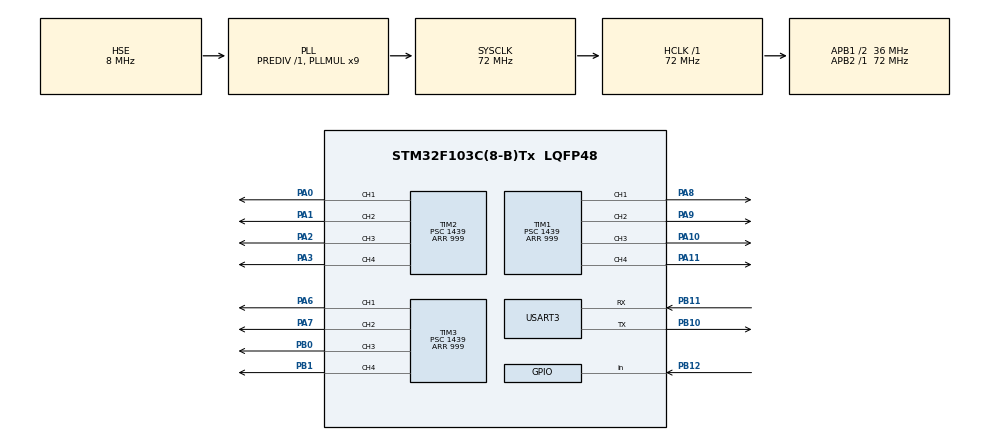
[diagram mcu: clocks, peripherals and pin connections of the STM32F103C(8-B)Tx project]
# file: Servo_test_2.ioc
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Dma.Request0=USART3_RX
Dma.Request1=USART3_TX
Dma.USART3_RX.0.Direction=DMA_PERIPH_TO_MEMORY
Dma.USART3_RX.0.Instance=DMA1_Channel3
Dma.USART3_RX.0.MemDataAlignment=DMA_MDATAALIGN_BYTE
Dma.USART3_RX.0.MemInc=DMA_MINC_ENABLE
Dma.USART3_RX.0.Mode=DMA_NORMAL
Dma.USART3_RX.0.PeriphDataAlignment=DMA_PDATAALIGN_BYTE
Dma.USART3_RX.0.PeriphInc=DMA_PINC_DISABLE
Dma.USART3_RX.0.Priority=DMA_PRIORITY_LOW
Dma.USART3_TX.1.Direction=DMA_MEMORY_TO_PERIPH
Dma.USART3_TX.1.Instance=DMA1_Channel2
Dma.USART3_TX.1.MemDataAlignment=DMA_MDATAALIGN_BYTE
Dma.USART3_TX.1.MemInc=DMA_MINC_ENABLE
Dma.USART3_TX.1.Mode=DMA_NORMAL
Dma.USART3_TX.1.PeriphDataAlignment=DMA_PDATAALIGN_BYTE
Dma.USART3_TX.1.PeriphInc=DMA_PINC_DISABLE
Dma.USART3_TX.1.Priority=DMA_PRIORITY_LOW
Mcu.Family=STM32F1
Mcu.Name=STM32F103C(8-B)Tx
Mcu.Package=LQFP48
NVIC.DMA1_Channel2_IRQn=true\:0\:0\:false\:false\:true\:false\:true\:true
NVIC.DMA1_Channel3_IRQn=true\:0\:0\:false\:false\:true\:false\:true\:true
NVIC.PriorityGroup=NVIC_PRIORITYGROUP_4
NVIC.USART3_IRQn=true\:0\:0\:false\:false\:true\:true\:true\:true
PA0-WKUP.Signal=S_TIM2_CH1_ETR
PA1.Signal=S_TIM2_CH2
PA10.Signal=S_TIM1_CH3
PA11.Signal=S_TIM1_CH4
PA13.Mode=Serial_Wire
PA13.Signal=SYS_JTMS-SWDIO
PA14.Mode=Serial_Wire
PA14.Signal=SYS_JTCK-SWCLK
PA2.Signal=S_TIM2_CH3
PA3.Signal=S_TIM2_CH4
PA6.Signal=S_TIM3_CH1
PA7.Signal=S_TIM3_CH2
PA8.Signal=S_TIM1_CH1
PA9.Signal=S_TIM1_CH2
PB0.Signal=S_TIM3_CH3
PB1.Signal=S_TIM3_CH4
PB10.Mode=Asynchronous
PB10.Signal=USART3_TX
PB11.Mode=Asynchronous
PB11.Signal=USART3_RX
PB12.GPIO_PuPd=GPIO_PULLDOWN
PB12.Signal=GPIO_Input
PD0-OSC_IN.Mode=HSE-External-Oscillator
PD0-OSC_IN.Signal=RCC_OSC_IN
PD1-OSC_OUT.Mode=HSE-External-Oscillator
PD1-OSC_OUT.Signal=RCC_OSC_OUT
ProjectManager.HeapSize=0x200
ProjectManager.StackSize=0x400
ProjectManager.TargetToolchain=MDK-ARM V5.32
RCC.AHBFreq_Value=72000000
RCC.APB1CLKDivider=RCC_HCLK_DIV2
RCC.APB1Freq_Value=36000000
RCC.APB1TimFreq_Value=72000000
RCC.APB2Freq_Value=72000000
RCC.APB2TimFreq_Value=72000000
RCC.HCLKFreq_Value=72000000
RCC.PLLMUL=RCC_PLL_MUL9
RCC.PLLSourceVirtual=RCC_PLLSOURCE_HSE
RCC.SYSCLKFreq_VALUE=72000000
RCC.SYSCLKSource=RCC_SYSCLKSOURCE_PLLCLK
RCC.USBFreq_Value=72000000
SH.S_TIM1_CH1.0=TIM1_CH1,PWM Generation1 CH1
SH.S_TIM1_CH2.0=TIM1_CH2,PWM Generation2 CH2
SH.S_TIM1_CH3.0=TIM1_CH3,PWM Generation3 CH3
SH.S_TIM1_CH4.0=TIM1_CH4,PWM Generation4 CH4
SH.S_TIM2_CH1_ETR.0=TIM2_CH1,PWM Generation1 CH1
SH.S_TIM2_CH2.0=TIM2_CH2,PWM Generation2 CH2
SH.S_TIM2_CH3.0=TIM2_CH3,PWM Generation3 CH3
SH.S_TIM2_CH4.0=TIM2_CH4,PWM Generation4 CH4
SH.S_TIM3_CH1.0=TIM3_CH1,PWM Generation1 CH1
SH.S_TIM3_CH2.0=TIM3_CH2,PWM Generation2 CH2
SH.S_TIM3_CH3.0=TIM3_CH3,PWM Generation3 CH3
SH.S_TIM3_CH4.0=TIM3_CH4,PWM Generation4 CH4
TIM1.Channel-PWM\ Generation1\ CH1=TIM_CHANNEL_1
TIM1.Channel-PWM\ Generation2\ CH2=TIM_CHANNEL_2
TIM1.Channel-PWM\ Generation3\ CH3=TIM_CHANNEL_3
TIM1.Channel-PWM\ Generation4\ CH4=TIM_CHANNEL_4
TIM1.Period=999
TIM1.Prescaler=1439
TIM2.Channel-PWM\ Generation1\ CH1=TIM_CHANNEL_1
TIM2.Channel-PWM\ Generation2\ CH2=TIM_CHANNEL_2
TIM2.Channel-PWM\ Generation3\ CH3=TIM_CHANNEL_3
TIM2.Channel-PWM\ Generation4\ CH4=TIM_CHANNEL_4
TIM2.Period=999
TIM2.Prescaler=1439
TIM3.Channel-PWM\ Generation1\ CH1=TIM_CHANNEL_1
TIM3.Channel-PWM\ Generation2\ CH2=TIM_CHANNEL_2
TIM3.Channel-PWM\ Generation3\ CH3=TIM_CHANNEL_3
TIM3.Channel-PWM\ Generation4\ CH4=TIM_CHANNEL_4
TIM3.Period=999
TIM3.Prescaler=1439
USART3.VirtualMode=VM_ASYNC
board=custom

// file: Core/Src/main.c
/* USER CODE BEGIN Header */
/**
  ******************************************************************************
  * @file           : main.c
  * @brief          : Main program body
  ******************************************************************************
  * @attention
  *
  * Copyright (c) 2025 STMicroelectronics.
  * All rights reserved.
  *
  * This software is licensed under terms that can be found in the LICENSE file
  * in the root directory of this software component.
  * If no LICENSE file comes with this software, it is provided AS-IS.
  *
  ******************************************************************************
  */
/* USER CODE END Header */
#include "main.h"

/* USER CODE BEGIN Includes */

#include "Straight_gait.h"
#include "Spin_gait.h"

/* USER CODE END Includes */

TIM_HandleTypeDef htim1;
TIM_HandleTypeDef htim2;
TIM_HandleTypeDef htim3;

UART_HandleTypeDef huart3;
DMA_HandleTypeDef hdma_usart3_rx;
DMA_HandleTypeDef hdma_usart3_tx;

void SystemClock_Config(void);
static void MX_GPIO_Init(void);
static void MX_DMA_Init(void);
static void MX_TIM2_Init(void);
static void MX_TIM3_Init(void);
static void MX_TIM1_Init(void);
static void MX_USART3_UART_Init(void);

/* USER CODE BEGIN 0 */

uint8_t ready = 0;

uint8_t begin_stra_gait = 0;
uint8_t leg2_12and3_34_stra_gait = 0;
uint8_t leg3_12and2_34_stra_gait = 0;

uint8_t begin_spin_gait = 0;
uint8_t leg2_12and3_34_spin_gait = 0;
uint8_t leg3_12and2_34_spin_gait = 0;

uint8_t id;

uint8_t rxData[4];

uint8_t forward = 0;
uint8_t back = 0;
uint8_t right = 0;
uint8_t left = 0;

// straight gait 1

int RBpalForeAlphaTIM[] = {44, 45, 46, 47, 49, 50, 52, 54, 55, 57, 59}; //1
int RBpalForeBetaTIM[] = {63, 62, 61, 61, 61, 61, 62, 63, 64, 65, 67}; //1

int RBpalBackAlphaTIM[] = {33, 33, 33, 34, 35, 36, 37, 39, 40, 42, 44};
int RBpalBackBetaTIM[] = {67, 65, 64, 63, 62, 61, 61, 61, 61, 62, 63};

int RBpalAlphaGaitTIM[] = {33, 33, 34, 36, 38, 41, 44, 48, 52, 55, 59}; //3
int RBpalBetaGaitTIM[] = {67, 64, 61, 59, 58, 57, 58, 59, 61, 64, 67}; //3

int RBstraForeAlphaTIM[] = {59, 57, 56, 54, 53, 51, 50, 48, 47, 45, 44}; //4
int RBstraForeBetaTIM[] = {67, 66, 66, 65, 65, 64, 64, 64, 63, 63, 63}; //4

int RBstraBackAlphaTIM[] = {44, 43, 41, 40, 39, 38, 37, 36, 35, 34, 33};
int RBstraBackBetaTIM[] = {63, 63, 63, 64, 64, 64, 65, 65, 66, 66, 67};

int RBstraAlphaGaitTIM[] = {59, 56, 53, 50, 47, 44, 41, 39, 37, 35, 33}; //2
int RBstraBetaGaitTIM[] = {67, 66, 65, 64, 63, 63, 63, 64, 65, 66, 67}; //2

int LBpalAlphaGaitTIM[] = {117, 117, 116, 114, 112, 109, 106, 102, 98, 95, 91}; //3
int LBpalBetaGaitTIM[] = {83, 86, 89, 91, 92, 93, 92, 91, 89, 86, 83}; //3

int LBpalBackAlphaTIM[] = {117, 117, 117, 116, 115, 114, 113, 111, 110, 108, 106};
int LBpalBackBetaTIM[] = {83, 85, 86, 87, 88, 89, 89, 89, 89, 88, 87};

int LBpalForeAlphaTIM[] = {106, 105, 104, 103, 101, 100, 98, 96, 95, 93, 91}; //1
int LBpalForeBetaTIM[] = {87, 88, 89, 89, 89, 89, 88, 87, 86, 85, 83}; //1

int LBstraAlphaGaitTIM[] = {91, 94, 97, 100, 103, 106, 109, 111, 113, 115, 117}; //2
int LBstraBetaGaitTIM[] = {83, 84, 85, 86, 87, 87, 87, 86, 85, 84, 83}; //2

int LBstraBackAlphaTIM[] = {106, 107, 109, 110, 111, 112, 113, 114, 115, 116, 117};
int LBstraBackBetaTIM[] = {87, 87, 87, 86, 86, 86, 85, 85, 84, 84, 83};

int LBstraForeAlphaTIM[] = {91, 93, 94, 96, 97, 99, 100, 102, 103, 105, 106}; //4
int LBstraForeBetaTIM[] = {83, 84, 84, 85, 85, 86, 86, 86, 87, 87, 87}; //4

// spin gait

// for 11 and 14
// pal
int fullPalShoulderTIM1[] = {71, 72, 73, 73, 74, 75, 76, 77, 77, 78, 79};
int halfInsidePalShoulderTIM1[] = {71, 71, 71, 73, 73, 73, 73, 73, 74, 75, 75};
int halfOutsidePalShoulderTIM1[] = {75, 75, 76, 76, 77, 77, 77, 77, 78, 78, 79};
//stra
int fullStraShoulderTIM1[] = {79, 78, 77, 77, 76, 75, 74, 73, 73, 72, 71}; // reversed
int halfInsideStraShoulderTIM1[] = {75, 75, 74, 73, 73, 73, 73, 73, 72, 71, 71}; // reversed
int halfOutsideStraShoulderTIM1[] = {79, 78, 77, 77, 77, 77, 77, 76, 76, 75, 75}; // reversed

// for 12 and 13
// pal
int fullPalShoulderTIM2[] = {73, 73, 73, 74, 74, 75, 76, 76, 76, 76, 77};
int halfInsidePalShoulderTIM2[] = {75, 75, 76, 76, 76, 76, 76, 76, 77, 77, 77};
int halfOutsidePalShoulderTIM2[] = {73, 73, 73, 73, 73, 73, 74, 74, 74, 75, 75};
//stra
int fullStraShoulderTIM2[] = {77, 77, 77, 76, 76, 75, 74, 74, 74, 74, 73}; // reversed
int halfInsideStraShoulderTIM2[] = {77, 77, 76, 76, 76, 76, 76, 76, 76, 75, 75}; // reversed
int halfOutsideStraShoulderTIM2[] = {75, 75, 74, 74, 74, 74, 74, 74, 74, 73, 73}; // reversed

// right from backside
// pal
int RBfullPalAlphaGaitTIM[] = {44, 43, 43, 42, 42, 42, 42, 43, 44, 45, 46};
int RBfullPalBetaGaitTIM[] = {63, 62, 60, 60, 58, 59, 60, 61, 63, 64, 67};

int RBhalfInsidePalAlphaGaitTIM[] = {43, 42, 41, 41, 41, 40, 41, 41, 42, 43, 44};
int RBhalfInsidePalBetaGaitTIM[] = {61, 60, 58, 57, 57, 56, 57, 58, 59, 61, 63};

int RBhalfOutsidePalAlphaGaitTIM[] = {45, 44, 43, 43, 42, 43, 43, 43, 44, 45, 46};
int RBhalfOutsidePalBetaGaitTIM[] = {65, 63, 62, 61, 60, 60, 61, 61, 63, 65, 67};

// stra
int RBfullStraAlphaGaitTIM[] = {46, 46, 46, 45, 45, 45, 45, 45, 44, 44, 44}; // reversed
int RBfullStraBetaGaitTIM[] = {67, 66, 66, 66, 66, 65, 64, 64, 64, 64, 63}; // reversed

int RBhalfInsideStraAlphaGaitTIM[] = {44, 44, 44, 44, 44, 44, 43, 43, 43, 43, 43}; // reversed
int RBhalfInsideStraBetaGaitTIM[] = {63, 63, 63, 63, 63, 63, 62, 62, 62, 61, 61}; // reversed

int RBhalfOutsideStraAlphaGaitTIM[] = {46, 46, 46, 46, 46, 45, 45, 45, 45, 45, 45}; // reversed
int RBhalfOutsideStraBetaGaitTIM[] = {67, 67, 66, 66, 66, 66, 66, 66, 66, 65, 65}; // reversed

// left from backside
// pal
int LBfullPalAlphaGaitTIM[] = {106, 107, 108, 109, 110, 110, 110, 110, 109, 108, 108};
int LBfullPalBetaGaitTIM[] = {87, 89, 91, 93, 94, 95, 95, 94, 93, 92, 90};

int LBhalfInsidePalAlphaGaitTIM[] = {107, 108, 109, 110, 110, 110, 110, 110, 110, 109, 108};
int LBhalfInsidePalBetaGaitTIM[] = {89, 91, 93, 94, 95, 96, 95, 95, 94, 92, 90};

int LBhalfOutsidePalAlphaGaitTIM[] = {105, 106, 107, 108, 108, 108, 109, 108, 107, 107, 106};
int LBhalfOutsidePalBetaGaitTIM[] = {85, 87, 89, 90, 91, 92, 92, 91, 90, 89, 87};

// stra
int LBfullStraAlphaGaitTIM[] = {108, 107, 107, 107, 107, 107, 107, 107, 107, 106, 106}; // reversed
int LBfullStraBetaGaitTIM[] = {90, 90, 90, 89, 89, 89, 88, 88, 87, 87, 87}; // reversed

int LBhalfInsideStraAlphaGaitTIM[] = {108, 108, 107, 107, 107, 107, 107, 107, 107, 107, 107}; // reversed
int LBhalfInsideStraBetaGaitTIM[] = {90, 90, 90, 90, 90, 90, 89, 89, 89, 89, 89}; // reversed

int LBhalfOutsideStraAlphaGaitTIM[] = {106, 106, 106, 106, 106, 106, 106, 106, 106, 105, 105}; // reversed
int LBhalfOutsideStraBetaGaitTIM[] = {87, 87, 86, 86, 86, 86, 86, 86, 86, 85, 85}; // reversed

// reversed array
// straight gait 1
int RBpalForeAlphaTIMRe[11];
int RBpalForeBetaTIMRe[11];

int RBpalBackAlphaTIMRe[11];
int RBpalBackBetaTIMRe[11];

int RBpalAlphaGaitTIMRe[11];
int RBpalBetaGaitTIMRe[11];

int RBstraForeAlphaTIMRe[11];
int RBstraForeBetaTIMRe[11];

int RBstraBackAlphaTIMRe[11];
int RBstraBackBetaTIMRe[11];

int RBstraAlphaGaitTIMRe[11];
int RBstraBetaGaitTIMRe[11];

int LBpalAlphaGaitTIMRe[11];
int LBpalBetaGaitTIMRe[11];

int LBpalBackAlphaTIMRe[11];
int LBpalBackBetaTIMRe[11];

int LBpalForeAlphaTIMRe[11];
int LBpalForeBetaTIMRe[11];

int LBstraAlphaGaitTIMRe[11];
int LBstraBetaGaitTIMRe[11];

int LBstraBackAlphaTIMRe[11];
int LBstraBackBetaTIMRe[11];

int LBstraForeAlphaTIMRe[11];
int LBstraForeBetaTIMRe[11];

// spin gait
int fullPalShoulderTIM1Re[11];
int halfInsidePalShoulderTIM1Re[11];
int halfOutsidePalShoulderTIM1Re[11];

int fullStraShoulderTIM1Re[11];
int halfInsideStraShoulderTIM1Re[11];
int halfOutsideStraShoulderTIM1Re[11];

int fullPalShoulderTIM2Re[11];
int halfInsidePalShoulderTIM2Re[11];
int halfOutsidePalShoulderTIM2Re[11];

int fullStraShoulderTIM2Re[11];
int halfInsideStraShoulderTIM2Re[11];
int halfOutsideStraShoulderTIM2Re[11];

// right from backside
int RBfullPalAlphaGaitTIMRe[11];
int RBfullPalBetaGaitTIMRe[11];

int RBhalfInsidePalAlphaGaitTIMRe[11];
int RBhalfInsidePalBetaGaitTIMRe[11];

int RBhalfOutsidePalAlphaGaitTIMRe[11];
int RBhalfOutsidePalBetaGaitTIMRe[11];

int RBfullStraAlphaGaitTIMRe[11];
int RBfullStraBetaGaitTIMRe[11];

int RBhalfInsideStraAlphaGaitTIMRe[11];
int RBhalfInsideStraBetaGaitTIMRe[11];

int RBhalfOutsideStraAlphaGaitTIMRe[11];
int RBhalfOutsideStraBetaGaitTIMRe[11];

// left from backside
int LBfullPalAlphaGaitTIMRe[11];
int LBfullPalBetaGaitTIMRe[11];

int LBhalfInsidePalAlphaGaitTIMRe[11];
int LBhalfInsidePalBetaGaitTIMRe[11];

int LBhalfOutsidePalAlphaGaitTIMRe[11];
int LBhalfOutsidePalBetaGaitTIMRe[11];

int LBfullStraAlphaGaitTIMRe[11];
int LBfullStraBetaGaitTIMRe[11];

int LBhalfInsideStraAlphaGaitTIMRe[11];
int LBhalfInsideStraBetaGaitTIMRe[11];

int LBhalfOutsideStraAlphaGaitTIMRe[11];
int LBhalfOutsideStraBetaGaitTIMRe[11];

// function to reverse the array
void reverseArray(int* arr, int* reversedArr) {
    for (int i = 0; i < 11; i++) {
        reversedArr[i] = arr[11 - 1 - i];
    }
}

// function for straight gait 1

void reverse_straight_gait() {
	reverseArray(RBpalBackAlphaTIM, RBpalBackAlphaTIMRe);
	reverseArray(RBpalBackBetaTIM, RBpalBackBetaTIMRe);
	reverseArray(LBpalBackAlphaTIM, LBpalBackAlphaTIMRe);
	reverseArray(LBpalBackBetaTIM, LBpalBackBetaTIMRe);
	reverseArray(LBstraForeAlphaTIM, LBstraForeAlphaTIMRe);
	reverseArray(LBstraForeBetaTIM, LBstraForeBetaTIMRe);
	reverseArray(RBstraForeAlphaTIM, RBstraForeAlphaTIMRe);
	reverseArray(RBstraForeBetaTIM, RBstraForeBetaTIMRe);
	reverseArray(RBstraAlphaGaitTIM, RBstraAlphaGaitTIMRe);
	reverseArray(RBstraBetaGaitTIM, RBstraBetaGaitTIMRe);
	reverseArray(LBstraAlphaGaitTIM, LBstraAlphaGaitTIMRe);
	reverseArray(LBstraBetaGaitTIM, LBstraBetaGaitTIMRe);
	reverseArray(LBpalAlphaGaitTIM, LBpalAlphaGaitTIMRe);
	reverseArray(LBpalBetaGaitTIM, LBpalBetaGaitTIMRe);
	reverseArray(RBpalAlphaGaitTIM, RBpalAlphaGaitTIMRe);
	reverseArray(RBpalBetaGaitTIM, RBpalBetaGaitTIMRe);
	reverseArray(RBpalForeAlphaTIM, RBpalForeAlphaTIMRe);
	reverseArray(RBpalForeBetaTIM, RBpalForeBetaTIMRe);
	reverseArray(LBpalForeAlphaTIM, LBpalForeAlphaTIMRe);
	reverseArray(LBpalForeBetaTIM, LBpalForeBetaTIMRe);
	reverseArray(LBstraBackAlphaTIM, LBstraBackAlphaTIMRe);
	reverseArray(LBstraBackBetaTIM, LBstraBackBetaTIMRe);
	reverseArray(RBstraBackAlphaTIM, RBstraBackAlphaTIMRe);
	reverseArray(RBstraBackBetaTIM, RBstraBackBetaTIMRe);
}

void rotate_straight_forward() { // move forward
	if (!begin_stra_gait) {
		check_begin_stra_gait(RBpalForeAlphaTIM, RBpalForeBetaTIM, LBpalForeAlphaTIM, LBpalForeBetaTIM, LBstraBackAlphaTIM, LBstraBackBetaTIM, RBstraBackAlphaTIM, RBstraBackBetaTIM);
	}
	first_step_stra_gait(RBstraAlphaGaitTIM, RBstraBetaGaitTIM, LBstraAlphaGaitTIM, LBstraBetaGaitTIM, LBpalAlphaGaitTIM, LBpalBetaGaitTIM, RBpalAlphaGaitTIM, RBpalBetaGaitTIM);

	if (!forward) {
		check_end_stra_gait(RBpalBackAlphaTIM, RBpalBackBetaTIM, LBpalBackAlphaTIM, LBpalBackBetaTIM, LBstraForeAlphaTIM, LBstraForeBetaTIM, RBstraForeAlphaTIM, RBstraForeBetaTIM,
												RBstraForeAlphaTIM, RBstraForeBetaTIM, LBstraForeAlphaTIM, LBstraForeBetaTIM, LBpalBackAlphaTIM, LBpalBackBetaTIM, RBpalBackAlphaTIM, RBpalBackBetaTIM);
		return;
	}

	second_step_stra_gait(RBpalAlphaGaitTIM, RBpalBetaGaitTIM, LBpalAlphaGaitTIM, LBpalBetaGaitTIM, LBstraAlphaGaitTIM, LBstraBetaGaitTIM, RBstraAlphaGaitTIM, RBstraBetaGaitTIM);
}

void rotate_straight_backward() { // move backward
	reverse_straight_gait();

	if (!begin_stra_gait) {
		check_begin_stra_gait(RBpalBackAlphaTIMRe, RBpalBackBetaTIMRe, LBpalBackAlphaTIMRe, LBpalBackBetaTIMRe, LBstraForeAlphaTIMRe, LBstraForeBetaTIMRe, RBstraForeAlphaTIMRe, RBstraForeBetaTIMRe);
	}
	first_step_stra_gait(RBstraAlphaGaitTIMRe, RBstraBetaGaitTIMRe, LBstraAlphaGaitTIMRe, LBstraBetaGaitTIMRe, LBpalAlphaGaitTIMRe, LBpalBetaGaitTIMRe, RBpalAlphaGaitTIMRe, RBpalBetaGaitTIMRe);

	if (!back) {
		check_end_stra_gait(RBpalForeAlphaTIMRe, RBpalForeBetaTIMRe, LBpalForeAlphaTIMRe, LBpalForeBetaTIMRe, LBstraBackAlphaTIMRe, LBstraBackBetaTIMRe, RBstraBackAlphaTIMRe, RBstraBackBetaTIMRe,
												RBstraBackAlphaTIMRe, RBstraBackBetaTIMRe, LBstraBackAlphaTIMRe, LBstraBackBetaTIMRe, LBpalForeAlphaTIMRe, LBpalForeBetaTIMRe, RBpalForeAlphaTIMRe, RBpalForeBetaTIMRe);
		return;
	}

	second_step_stra_gait(RBpalAlphaGaitTIMRe, RBpalBetaGaitTIMRe, LBpalAlphaGaitTIMRe, LBpalBetaGaitTIMRe, LBstraAlphaGaitTIMRe, LBstraBetaGaitTIMRe, RBstraAlphaGaitTIMRe, RBstraBetaGaitTIMRe);
}

// function for spin gait

void reverse_spin_gait() {
    // Reverse shoulder TIM1 arrays
    reverseArray(fullPalShoulderTIM1, fullPalShoulderTIM1Re);
    reverseArray(halfInsidePalShoulderTIM1, halfInsidePalShoulderTIM1Re);
    reverseArray(halfOutsidePalShoulderTIM1, halfOutsidePalShoulderTIM1Re);
    reverseArray(fullStraShoulderTIM1, fullStraShoulderTIM1Re);
    reverseArray(halfInsideStraShoulderTIM1, halfInsideStraShoulderTIM1Re);
    reverseArray(halfOutsideStraShoulderTIM1, halfOutsideStraShoulderTIM1Re);

    // Reverse shoulder TIM2 arrays
    reverseArray(fullPalShoulderTIM2, fullPalShoulderTIM2Re);
    reverseArray(halfInsidePalShoulderTIM2, halfInsidePalShoulderTIM2Re);
    reverseArray(halfOutsidePalShoulderTIM2, halfOutsidePalShoulderTIM2Re);
    reverseArray(fullStraShoulderTIM2, fullStraShoulderTIM2Re);
    reverseArray(halfInsideStraShoulderTIM2, halfInsideStraShoulderTIM2Re);
    reverseArray(halfOutsideStraShoulderTIM2, halfOutsideStraShoulderTIM2Re);

    // Reverse right backside Pal arrays
    reverseArray(RBfullPalAlphaGaitTIM, RBfullPalAlphaGaitTIMRe);
    reverseArray(RBfullPalBetaGaitTIM, RBfullPalBetaGaitTIMRe);
    reverseArray(RBhalfInsidePalAlphaGaitTIM, RBhalfInsidePalAlphaGaitTIMRe);
    reverseArray(RBhalfInsidePalBetaGaitTIM, RBhalfInsidePalBetaGaitTIMRe);
    reverseArray(RBhalfOutsidePalAlphaGaitTIM, RBhalfOutsidePalAlphaGaitTIMRe);
    reverseArray(RBhalfOutsidePalBetaGaitTIM, RBhalfOutsidePalBetaGaitTIMRe);

    // Reverse right backside Stra arrays
    reverseArray(RBfullStraAlphaGaitTIM, RBfullStraAlphaGaitTIMRe);
    reverseArray(RBfullStraBetaGaitTIM, RBfullStraBetaGaitTIMRe);
    reverseArray(RBhalfInsideStraAlphaGaitTIM, RBhalfInsideStraAlphaGaitTIMRe);
    reverseArray(RBhalfInsideStraBetaGaitTIM, RBhalfInsideStraBetaGaitTIMRe);
    reverseArray(RBhalfOutsideStraAlphaGaitTIM, RBhalfOutsideStraAlphaGaitTIMRe);
    reverseArray(RBhalfOutsideStraBetaGaitTIM, RBhalfOutsideStraBetaGaitTIMRe);

    // Reverse left backside Pal arrays
    reverseArray(LBfullPalAlphaGaitTIM, LBfullPalAlphaGaitTIMRe);
    reverseArray(LBfullPalBetaGaitTIM, LBfullPalBetaGaitTIMRe);
    reverseArray(LBhalfInsidePalAlphaGaitTIM, LBhalfInsidePalAlphaGaitTIMRe);
    reverseArray(LBhalfInsidePalBetaGaitTIM, LBhalfInsidePalBetaGaitTIMRe);
    reverseArray(LBhalfOutsidePalAlphaGaitTIM, LBhalfOutsidePalAlphaGaitTIMRe);
    reverseArray(LBhalfOutsidePalBetaGaitTIM, LBhalfOutsidePalBetaGaitTIMRe);

    // Reverse left backside Stra arrays
    reverseArray(LBfullStraAlphaGaitTIM, LBfullStraAlphaGaitTIMRe);
    reverseArray(LBfullStraBetaGaitTIM, LBfullStraBetaGaitTIMRe);
    reverseArray(LBhalfInsideStraAlphaGaitTIM, LBhalfInsideStraAlphaGaitTIMRe);
    reverseArray(LBhalfInsideStraBetaGaitTIM, LBhalfInsideStraBetaGaitTIMRe);
    reverseArray(LBhalfOutsideStraAlphaGaitTIM, LBhalfOutsideStraAlphaGaitTIMRe);
    reverseArray(LBhalfOutsideStraBetaGaitTIM, LBhalfOutsideStraBetaGaitTIMRe);
}

void spin_left() {
	if (!begin_spin_gait) {
		check_begin_spin_gait(
			halfOutsidePalShoulderTIM1, RBhalfOutsidePalAlphaGaitTIM, RBhalfOutsidePalBetaGaitTIM,
			halfOutsideStraShoulderTIM2, LBhalfOutsideStraAlphaGaitTIM, LBhalfOutsideStraBetaGaitTIM,
			halfOutsidePalShoulderTIM1, LBhalfOutsidePalAlphaGaitTIM, LBhalfOutsidePalBetaGaitTIM,
			halfOutsideStraShoulderTIM2, RBhalfOutsideStraAlphaGaitTIM, RBhalfOutsideStraBetaGaitTIM
		);
	}

	first_step_spin_gait(
		fullStraShoulderTIM1, RBfullStraAlphaGaitTIM, RBfullStraBetaGaitTIM,
		fullPalShoulderTIM2, LBfullPalAlphaGaitTIM, LBfullPalBetaGaitTIM,
		fullStraShoulderTIM1, LBfullStraAlphaGaitTIM, LBfullStraBetaGaitTIM,
		fullPalShoulderTIM2, RBfullPalAlphaGaitTIM, RBfullPalBetaGaitTIM
	);

	if (!left) {
		check_end_spin_gait(
			halfOutsideStraShoulderTIM1, RBhalfOutsideStraAlphaGaitTIM, RBhalfOutsideStraBetaGaitTIM,
			halfOutsidePalShoulderTIM2, LBhalfOutsidePalAlphaGaitTIM, LBhalfOutsidePalBetaGaitTIM,
			halfOutsideStraShoulderTIM1, LBhalfOutsideStraAlphaGaitTIM, LBhalfOutsideStraBetaGaitTIM,
			halfOutsidePalShoulderTIM2, RBhalfOutsidePalAlphaGaitTIM, RBhalfOutsidePalBetaGaitTIM,

			halfInsidePalShoulderTIM1, RBhalfInsidePalAlphaGaitTIM, RBhalfInsidePalBetaGaitTIM,
			halfInsideStraShoulderTIM2, LBhalfInsideStraAlphaGaitTIM, LBhalfInsideStraBetaGaitTIM,
			halfInsidePalShoulderTIM1, LBhalfInsidePalAlphaGaitTIM, LBhalfInsidePalBetaGaitTIM,
			halfInsideStraShoulderTIM2, RBhalfInsideStraAlphaGaitTIM, RBhalfInsideStraBetaGaitTIM
		);
		return;
	}

	second_step_spin_gait(
		fullPalShoulderTIM1, RBfullPalAlphaGaitTIM, RBfullPalBetaGaitTIM,
		fullStraShoulderTIM2, LBfullStraAlphaGaitTIM, LBfullStraBetaGaitTIM,
		fullPalShoulderTIM1, LBfullPalAlphaGaitTIM, LBfullPalBetaGaitTIM,
		fullStraShoulderTIM2, RBfullStraAlphaGaitTIM, RBfullStraBetaGaitTIM
	);
}

void spin_right() {
	reverse_spin_gait();

	if (!right) {
		check_begin_spin_gait(
			halfInsidePalShoulderTIM1Re, RBhalfInsidePalAlphaGaitTIMRe, RBhalfInsidePalBetaGaitTIMRe,
			halfInsideStraShoulderTIM2Re, LBhalfInsideStraAlphaGaitTIMRe, LBhalfInsideStraBetaGaitTIMRe,
			halfInsidePalShoulderTIM1Re, LBhalfInsidePalAlphaGaitTIMRe, LBhalfInsidePalBetaGaitTIMRe,
			halfInsideStraShoulderTIM2Re, RBhalfInsideStraAlphaGaitTIMRe, RBhalfInsideStraBetaGaitTIMRe
		);
	}
	first_step_spin_gait(
		fullStraShoulderTIM1Re, RBfullStraAlphaGaitTIMRe, RBfullStraBetaGaitTIMRe,
		fullPalShoulderTIM2Re, LBfullPalAlphaGaitTIMRe, LBfullPalBetaGaitTIMRe,
		fullStraShoulderTIM1Re, LBfullStraAlphaGaitTIMRe, LBfullStraBetaGaitTIMRe,
		fullPalShoulderTIM2Re, RBfullPalAlphaGaitTIMRe, RBfullPalBetaGaitTIMRe
	);
	if (!HAL_GPIO_ReadPin(GPIOB, GPIO_PIN_12)) {
		check_end_spin_gait(
			halfInsideStraShoulderTIM1Re, RBhalfInsideStraAlphaGaitTIMRe, RBhalfInsideStraBetaGaitTIMRe,
			halfInsidePalShoulderTIM2Re, LBhalfInsidePalAlphaGaitTIMRe, LBhalfInsidePalBetaGaitTIMRe,
			halfInsideStraShoulderTIM1Re, LBhalfInsideStraAlphaGaitTIMRe, LBhalfInsideStraBetaGaitTIMRe,
			halfInsidePalShoulderTIM2Re, RBhalfInsidePalAlphaGaitTIMRe, RBhalfInsidePalBetaGaitTIMRe,

			halfOutsidePalShoulderTIM1Re, RBhalfOutsidePalAlphaGaitTIMRe, RBhalfOutsidePalBetaGaitTIMRe,
			halfOutsideStraShoulderTIM2Re, LBhalfOutsideStraAlphaGaitTIMRe, LBhalfOutsideStraBetaGaitTIMRe,
			halfOutsidePalShoulderTIM1Re, LBhalfOutsidePalAlphaGaitTIMRe, LBhalfOutsidePalBetaGaitTIMRe,
			halfOutsideStraShoulderTIM2Re, RBhalfOutsideStraAlphaGaitTIMRe, RBhalfOutsideStraBetaGaitTIMRe
		);
		return;
	}
	second_step_spin_gait(
		fullPalShoulderTIM1Re, RBfullPalAlphaGaitTIMRe, RBfullPalBetaGaitTIMRe,
		fullStraShoulderTIM2Re, LBfullStraAlphaGaitTIMRe, LBfullStraBetaGaitTIMRe,
		fullPalShoulderTIM1Re, LBfullPalAlphaGaitTIMRe, LBfullPalBetaGaitTIMRe,
		fullStraShoulderTIM2Re, RBfullStraAlphaGaitTIMRe, RBfullStraBetaGaitTIMRe
	);
}

void end_rotate(uint8_t id) {
	if(id == 1) { // forward
		check_end_stra_gait(RBpalBackAlphaTIM, RBpalBackBetaTIM, LBpalBackAlphaTIM, LBpalBackBetaTIM, LBstraForeAlphaTIM, LBstraForeBetaTIM, RBstraForeAlphaTIM, RBstraForeBetaTIM,
												RBstraForeAlphaTIM, RBstraForeBetaTIM, LBstraForeAlphaTIM, LBstraForeBetaTIM, LBpalBackAlphaTIM, LBpalBackBetaTIM, RBpalBackAlphaTIM, RBpalBackBetaTIM);
	} else if (id == 2) { // backward
		reverse_straight_gait();
		check_end_stra_gait(RBpalForeAlphaTIMRe, RBpalForeBetaTIMRe, LBpalForeAlphaTIMRe, LBpalForeBetaTIMRe, LBstraBackAlphaTIMRe, LBstraBackBetaTIMRe, RBstraBackAlphaTIMRe, RBstraBackBetaTIMRe,
												RBstraBackAlphaTIMRe, RBstraBackBetaTIMRe, LBstraBackAlphaTIMRe, LBstraBackBetaTIMRe, LBpalForeAlphaTIMRe, LBpalForeBetaTIMRe, RBpalForeAlphaTIMRe, RBpalForeBetaTIMRe);
	} else if (id == 3) { // left
		check_end_spin_gait(
			halfOutsideStraShoulderTIM1, RBhalfOutsideStraAlphaGaitTIM, RBhalfOutsideStraBetaGaitTIM,
			halfOutsidePalShoulderTIM2, LBhalfOutsidePalAlphaGaitTIM, LBhalfOutsidePalBetaGaitTIM,
			halfOutsideStraShoulderTIM1, LBhalfOutsideStraAlphaGaitTIM, LBhalfOutsideStraBetaGaitTIM,
			halfOutsidePalShoulderTIM2, RBhalfOutsidePalAlphaGaitTIM, RBhalfOutsidePalBetaGaitTIM,

			halfInsidePalShoulderTIM1, RBhalfInsidePalAlphaGaitTIM, RBhalfInsidePalBetaGaitTIM,
			halfInsideStraShoulderTIM2, LBhalfInsideStraAlphaGaitTIM, LBhalfInsideStraBetaGaitTIM,
			halfInsidePalShoulderTIM1, LBhalfInsidePalAlphaGaitTIM, LBhalfInsidePalBetaGaitTIM,
			halfInsideStraShoulderTIM2, RBhalfInsideStraAlphaGaitTIM, RBhalfInsideStraBetaGaitTIM
		);
	} else if (id == 4) { // right
		reverse_spin_gait();
		check_end_spin_gait(
			halfInsideStraShoulderTIM1Re, RBhalfInsideStraAlphaGaitTIMRe, RBhalfInsideStraBetaGaitTIMRe,
			halfInsidePalShoulderTIM2Re, LBhalfInsidePalAlphaGaitTIMRe, LBhalfInsidePalBetaGaitTIMRe,
			halfInsideStraShoulderTIM1Re, LBhalfInsideStraAlphaGaitTIMRe, LBhalfInsideStraBetaGaitTIMRe,
			halfInsidePalShoulderTIM2Re, RBhalfInsidePalAlphaGaitTIMRe, RBhalfInsidePalBetaGaitTIMRe,

			halfOutsidePalShoulderTIM1Re, RBhalfOutsidePalAlphaGaitTIMRe, RBhalfOutsidePalBetaGaitTIMRe,
			halfOutsideStraShoulderTIM2Re, LBhalfOutsideStraAlphaGaitTIMRe, LBhalfOutsideStraBetaGaitTIMRe,
			halfOutsidePalShoulderTIM1Re, LBhalfOutsidePalAlphaGaitTIMRe, LBhalfOutsidePalBetaGaitTIMRe,
			halfOutsideStraShoulderTIM2Re, RBhalfOutsideStraAlphaGaitTIMRe, RBhalfOutsideStraBetaGaitTIMRe
		);
	}
	id = 0;
}

int count = 0;

void HAL_UART_RxCpltCallback(UART_HandleTypeDef *huart) {
    if (huart->Instance == USART3) {
			count ++;
      right = rxData[0];
			forward = rxData[1];
			back = rxData[2];
			left = rxData[3];

			HAL_UART_Receive_DMA(&huart3, rxData, 4);
    }
}

/* USER CODE END 0 */

int main(void)
{

  /* MCU Configuration--------------------------------------------------------*/

  /* Reset of all peripherals, Initializes the Flash interface and the Systick. */
  HAL_Init();

  /* Configure the system clock */
  SystemClock_Config();

  /* Initialize all configured peripherals */
  MX_GPIO_Init();
  MX_DMA_Init();
  MX_TIM2_Init();
  MX_TIM3_Init();
  MX_TIM1_Init();
  MX_USART3_UART_Init();
  /* USER CODE BEGIN 2 */
	HAL_TIM_PWM_Start(&htim1, TIM_CHANNEL_1);
	HAL_TIM_PWM_Start(&htim1, TIM_CHANNEL_2);
	HAL_TIM_PWM_Start(&htim1, TIM_CHANNEL_3);
	HAL_TIM_PWM_Start(&htim1, TIM_CHANNEL_4);

	HAL_TIM_PWM_Start(&htim2, TIM_CHANNEL_1);
	HAL_TIM_PWM_Start(&htim2, TIM_CHANNEL_2);
	HAL_TIM_PWM_Start(&htim2, TIM_CHANNEL_3);
	HAL_TIM_PWM_Start(&htim2, TIM_CHANNEL_4);

	HAL_TIM_PWM_Start(&htim3, TIM_CHANNEL_1);
	HAL_TIM_PWM_Start(&htim3, TIM_CHANNEL_2);
	HAL_TIM_PWM_Start(&htim3, TIM_CHANNEL_3);
	HAL_TIM_PWM_Start(&htim3, TIM_CHANNEL_4);

	HAL_UART_Receive_DMA(&huart3, rxData, 4);

  /* USER CODE END 2 */

  /* Infinite loop */
  /* USER CODE BEGIN WHILE */
  while (1)
  {
		int spin = HAL_GPIO_ReadPin(GPIOB, GPIO_PIN_12);

		if(forward || left || right || back) {
			if (forward) {
				rotate_straight_forward();
				id = 1;
			} else if (left) {
				spin_left();
				id = 3;
			} else if (right) {
				spin_right();
				id = 4;
			} else {
				rotate_straight_backward();
				id = 2;
			}
		} else {
			end_rotate(id);
		}

		if(!ready) {
			__HAL_TIM_SET_COMPARE(&htim1, TIM_CHANNEL_1, 75);
			__HAL_TIM_SET_COMPARE(&htim1, TIM_CHANNEL_2, 75);
			__HAL_TIM_SET_COMPARE(&htim1, TIM_CHANNEL_3, 75);
			__HAL_TIM_SET_COMPARE(&htim1, TIM_CHANNEL_4, 75);

			__HAL_TIM_SET_COMPARE(&htim2, TIM_CHANNEL_1, 44);
			__HAL_TIM_SET_COMPARE(&htim2, TIM_CHANNEL_2, 63);
			__HAL_TIM_SET_COMPARE(&htim2, TIM_CHANNEL_3, 106);
			__HAL_TIM_SET_COMPARE(&htim2, TIM_CHANNEL_4, 87);

			__HAL_TIM_SET_COMPARE(&htim3, TIM_CHANNEL_1, 44);
			__HAL_TIM_SET_COMPARE(&htim3, TIM_CHANNEL_2, 63);
			__HAL_TIM_SET_COMPARE(&htim3, TIM_CHANNEL_3, 106);
			__HAL_TIM_SET_COMPARE(&htim3, TIM_CHANNEL_4, 87);
		}

    /* USER CODE END WHILE */

  }
}

void SystemClock_Config(void)
{
  RCC_OscInitTypeDef RCC_OscInitStruct = {0};
  RCC_ClkInitTypeDef RCC_ClkInitStruct = {0};

  /** Initializes the RCC Oscillators according to the specified parameters
  * in the RCC_OscInitTypeDef structure.
  */
  RCC_OscInitStruct.OscillatorType = RCC_OSCILLATORTYPE_HSE;
  RCC_OscInitStruct.HSEState = RCC_HSE_ON;
  RCC_OscInitStruct.HSEPredivValue = RCC_HSE_PREDIV_DIV1;
  RCC_OscInitStruct.HSIState = RCC_HSI_ON;
  RCC_OscInitStruct.PLL.PLLState = RCC_PLL_ON;
  RCC_OscInitStruct.PLL.PLLSource = RCC_PLLSOURCE_HSE;
  RCC_OscInitStruct.PLL.PLLMUL = RCC_PLL_MUL9;
  if (HAL_RCC_OscConfig(&RCC_OscInitStruct) != HAL_OK)
  {
    Error_Handler();
  }

  /** Initializes the CPU, AHB and APB buses clocks
  */
  RCC_ClkInitStruct.ClockType = RCC_CLOCKTYPE_HCLK|RCC_CLOCKTYPE_SYSCLK
                              |RCC_CLOCKTYPE_PCLK1|RCC_CLOCKTYPE_PCLK2;
  RCC_ClkInitStruct.SYSCLKSource = RCC_SYSCLKSOURCE_PLLCLK;
  RCC_ClkInitStruct.AHBCLKDivider = RCC_SYSCLK_DIV1;
  RCC_ClkInitStruct.APB1CLKDivider = RCC_HCLK_DIV2;
  RCC_ClkInitStruct.APB2CLKDivider = RCC_HCLK_DIV1;

  if (HAL_RCC_ClockConfig(&RCC_ClkInitStruct, FLASH_LATENCY_2) != HAL_OK)
  {
    Error_Handler();
  }
}

static void MX_TIM1_Init(void)
{

  TIM_MasterConfigTypeDef sMasterConfig = {0};
  TIM_OC_InitTypeDef sConfigOC = {0};
  TIM_BreakDeadTimeConfigTypeDef sBreakDeadTimeConfig = {0};

  htim1.Instance = TIM1;
  htim1.Init.Prescaler = 1439;
  htim1.Init.CounterMode = TIM_COUNTERMODE_UP;
  htim1.Init.Period = 999;
  htim1.Init.ClockDivision = TIM_CLOCKDIVISION_DIV1;
  htim1.Init.RepetitionCounter = 0;
  htim1.Init.AutoReloadPreload = TIM_AUTORELOAD_PRELOAD_DISABLE;
  if (HAL_TIM_PWM_Init(&htim1) != HAL_OK)
  {
    Error_Handler();
  }
  sMasterConfig.MasterOutputTrigger = TIM_TRGO_RESET;
  sMasterConfig.MasterSlaveMode = TIM_MASTERSLAVEMODE_DISABLE;
  if (HAL_TIMEx_MasterConfigSynchronization(&htim1, &sMasterConfig) != HAL_OK)
  {
    Error_Handler();
  }
  sConfigOC.OCMode = TIM_OCMODE_PWM1;
  sConfigOC.Pulse = 0;
  sConfigOC.OCPolarity = TIM_OCPOLARITY_HIGH;
  sConfigOC.OCNPolarity = TIM_OCNPOLARITY_HIGH;
  sConfigOC.OCFastMode = TIM_OCFAST_DISABLE;
  sConfigOC.OCIdleState = TIM_OCIDLESTATE_RESET;
  sConfigOC.OCNIdleState = TIM_OCNIDLESTATE_RESET;
  if (HAL_TIM_PWM_ConfigChannel(&htim1, &sConfigOC, TIM_CHANNEL_1) != HAL_OK)
  {
    Error_Handler();
  }
  if (HAL_TIM_PWM_ConfigChannel(&htim1, &sConfigOC, TIM_CHANNEL_2) != HAL_OK)
  {
    Error_Handler();
  }
  if (HAL_TIM_PWM_ConfigChannel(&htim1, &sConfigOC, TIM_CHANNEL_3) != HAL_OK)
  {
    Error_Handler();
  }
  if (HAL_TIM_PWM_ConfigChannel(&htim1, &sConfigOC, TIM_CHANNEL_4) != HAL_OK)
  {
    Error_Handler();
  }
  sBreakDeadTimeConfig.OffStateRunMode = TIM_OSSR_DISABLE;
  sBreakDeadTimeConfig.OffStateIDLEMode = TIM_OSSI_DISABLE;
  sBreakDeadTimeConfig.LockLevel = TIM_LOCKLEVEL_OFF;
  sBreakDeadTimeConfig.DeadTime = 0;
  sBreakDeadTimeConfig.BreakState = TIM_BREAK_DISABLE;
  sBreakDeadTimeConfig.BreakPolarity = TIM_BREAKPOLARITY_HIGH;
  sBreakDeadTimeConfig.AutomaticOutput = TIM_AUTOMATICOUTPUT_DISABLE;
  if (HAL_TIMEx_ConfigBreakDeadTime(&htim1, &sBreakDeadTimeConfig) != HAL_OK)
  {
    Error_Handler();
  }
  HAL_TIM_MspPostInit(&htim1);

}

static void MX_TIM2_Init(void)
{

  TIM_MasterConfigTypeDef sMasterConfig = {0};
  TIM_OC_InitTypeDef sConfigOC = {0};

  htim2.Instance = TIM2;
  htim2.Init.Prescaler = 1439;
  htim2.Init.CounterMode = TIM_COUNTERMODE_UP;
  htim2.Init.Period = 999;
  htim2.Init.ClockDivision = TIM_CLOCKDIVISION_DIV1;
  htim2.Init.AutoReloadPreload = TIM_AUTORELOAD_PRELOAD_DISABLE;
  if (HAL_TIM_PWM_Init(&htim2) != HAL_OK)
  {
    Error_Handler();
  }
  sMasterConfig.MasterOutputTrigger = TIM_TRGO_RESET;
  sMasterConfig.MasterSlaveMode = TIM_MASTERSLAVEMODE_DISABLE;
  if (HAL_TIMEx_MasterConfigSynchronization(&htim2, &sMasterConfig) != HAL_OK)
  {
    Error_Handler();
  }
  sConfigOC.OCMode = TIM_OCMODE_PWM1;
  sConfigOC.Pulse = 0;
  sConfigOC.OCPolarity = TIM_OCPOLARITY_HIGH;
  sConfigOC.OCFastMode = TIM_OCFAST_DISABLE;
  if (HAL_TIM_PWM_ConfigChannel(&htim2, &sConfigOC, TIM_CHANNEL_1) != HAL_OK)
  {
    Error_Handler();
  }
  if (HAL_TIM_PWM_ConfigChannel(&htim2, &sConfigOC, TIM_CHANNEL_2) != HAL_OK)
  {
    Error_Handler();
  }
  if (HAL_TIM_PWM_ConfigChannel(&htim2, &sConfigOC, TIM_CHANNEL_3) != HAL_OK)
  {
    Error_Handler();
  }
  if (HAL_TIM_PWM_ConfigChannel(&htim2, &sConfigOC, TIM_CHANNEL_4) != HAL_OK)
  {
    Error_Handler();
  }
  HAL_TIM_MspPostInit(&htim2);

}

static void MX_TIM3_Init(void)
{

  TIM_MasterConfigTypeDef sMasterConfig = {0};
  TIM_OC_InitTypeDef sConfigOC = {0};

  htim3.Instance = TIM3;
  htim3.Init.Prescaler = 1439;
  htim3.Init.CounterMode = TIM_COUNTERMODE_UP;
  htim3.Init.Period = 999;
  htim3.Init.ClockDivision = TIM_CLOCKDIVISION_DIV1;
  htim3.Init.AutoReloadPreload = TIM_AUTORELOAD_PRELOAD_DISABLE;
  if (HAL_TIM_PWM_Init(&htim3) != HAL_OK)
  {
    Error_Handler();
  }
  sMasterConfig.MasterOutputTrigger = TIM_TRGO_RESET;
  sMasterConfig.MasterSlaveMode = TIM_MASTERSLAVEMODE_DISABLE;
  if (HAL_TIMEx_MasterConfigSynchronization(&htim3, &sMasterConfig) != HAL_OK)
  {
    Error_Handler();
  }
  sConfigOC.OCMode = TIM_OCMODE_PWM1;
  sConfigOC.Pulse = 0;
  sConfigOC.OCPolarity = TIM_OCPOLARITY_HIGH;
  sConfigOC.OCFastMode = TIM_OCFAST_DISABLE;
  if (HAL_TIM_PWM_ConfigChannel(&htim3, &sConfigOC, TIM_CHANNEL_1) != HAL_OK)
  {
    Error_Handler();
  }
  if (HAL_TIM_PWM_ConfigChannel(&htim3, &sConfigOC, TIM_CHANNEL_2) != HAL_OK)
  {
    Error_Handler();
  }
  if (HAL_TIM_PWM_ConfigChannel(&htim3, &sConfigOC, TIM_CHANNEL_3) != HAL_OK)
  {
    Error_Handler();
  }
  if (HAL_TIM_PWM_ConfigChannel(&htim3, &sConfigOC, TIM_CHANNEL_4) != HAL_OK)
  {
    Error_Handler();
  }
  HAL_TIM_MspPostInit(&htim3);

}

static void MX_USART3_UART_Init(void)
{

  huart3.Instance = USART3;
  huart3.Init.BaudRate = 115200;
  huart3.Init.WordLength = UART_WORDLENGTH_8B;
  huart3.Init.StopBits = UART_STOPBITS_1;
  huart3.Init.Parity = UART_PARITY_NONE;
  huart3.Init.Mode = UART_MODE_TX_RX;
  huart3.Init.HwFlowCtl = UART_HWCONTROL_NONE;
  huart3.Init.OverSampling = UART_OVERSAMPLING_16;
  if (HAL_UART_Init(&huart3) != HAL_OK)
  {
    Error_Handler();
  }

}

static void MX_DMA_Init(void)
{

  /* DMA controller clock enable */
  __HAL_RCC_DMA1_CLK_ENABLE();

  /* DMA interrupt init */
  /* DMA1_Channel2_IRQn interrupt configuration */
  HAL_NVIC_SetPriority(DMA1_Channel2_IRQn, 0, 0);
  HAL_NVIC_EnableIRQ(DMA1_Channel2_IRQn);
  /* DMA1_Channel3_IRQn interrupt configuration */
  HAL_NVIC_SetPriority(DMA1_Channel3_IRQn, 0, 0);
  HAL_NVIC_EnableIRQ(DMA1_Channel3_IRQn);

}

static void MX_GPIO_Init(void)
{
  GPIO_InitTypeDef GPIO_InitStruct = {0};

  /* GPIO Ports Clock Enable */
  __HAL_RCC_GPIOD_CLK_ENABLE();
  __HAL_RCC_GPIOA_CLK_ENABLE();
  __HAL_RCC_GPIOB_CLK_ENABLE();

  /*Configure GPIO pin : PB12 */
  GPIO_InitStruct.Pin = GPIO_PIN_12;
  GPIO_InitStruct.Mode = GPIO_MODE_INPUT;
  GPIO_InitStruct.Pull = GPIO_PULLDOWN;
  HAL_GPIO_Init(GPIOB, &GPIO_InitStruct);

}

void Error_Handler(void)
{
  __disable_irq();
  while (1)
  {
  }
}
